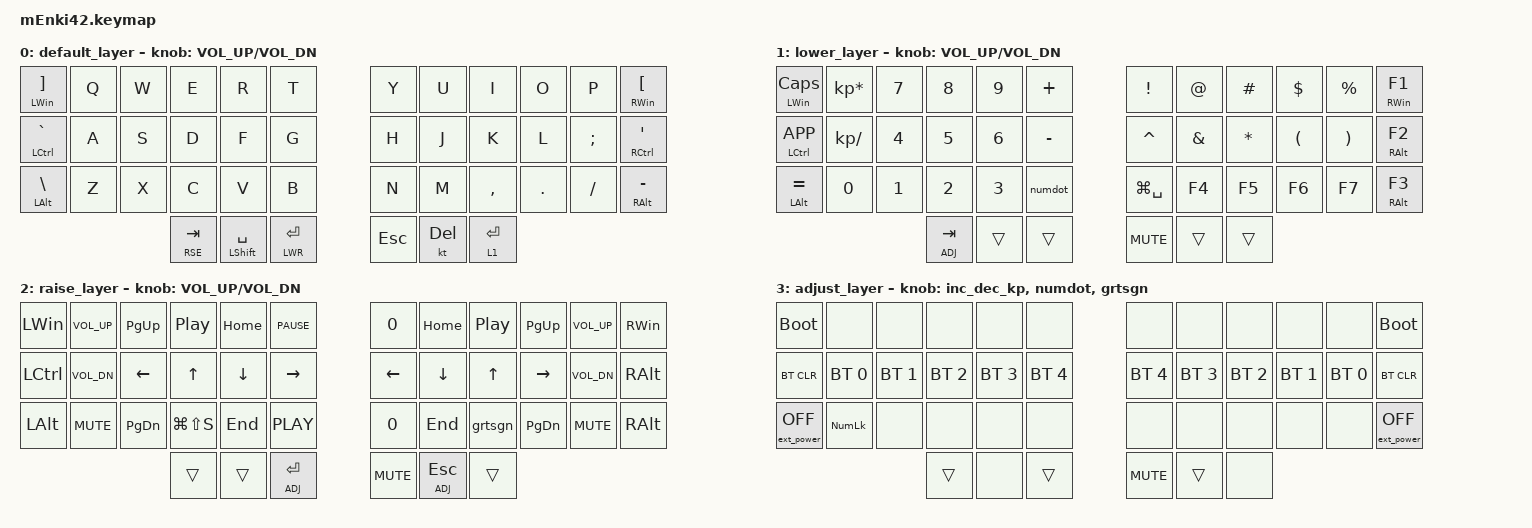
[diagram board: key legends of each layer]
/*
 * Copyright (c) 2020 The ZMK Contributors
 *
 * SPDX-License-Identifier: MIT
 */

#include <behaviors.dtsi>
#include <dt-bindings/zmk/bt.h>
#include <dt-bindings/zmk/ext_power.h>
#include <dt-bindings/zmk/keys.h>
#include <dt-bindings/zmk/keys.h>

#define DEF 0
#define LWR 1
#define RSE 2
#define ADJ 3

&lt { quick_tap_ms = <220>; };

&mt { quick_tap_ms = <220>; };

/ {
    macros {
        numdot: numdot {
            label = "ZM_numdot";
            compatible = "zmk,behavior-macro";
            #binding-cells = <0>;
            wait-ms = <40>;
            tap-ms = <40>;
            bindings =
                <&macro_press>,
                <&kp LALT>,
                <&macro_tap>,
                <&kp KP_N4 &kp KP_N6>,
                <&macro_release>,
                <&kp LALT>;
        };

        grtsgn: grtsgn {
            label = "ZM_grtsgn";
            compatible = "zmk,behavior-macro";
            #binding-cells = <0>;
            wait-ms = <40>;
            tap-ms = <40>;
            bindings =
                <&macro_press>,
                <&kp LALT>,
                <&macro_tap>,
                <&kp KP_N6 &kp KP_N2>,
                <&macro_release>,
                <&kp LALT>;
        };
    };
};

/ {
    keymap {
        compatible = "zmk,keymap";

        default_layer {
            // ------------------------------------------------------------------------------------------------
            //| LGUI/] |  Q  |  W  |  E  |  R  |  T  |   |  Y  |  U   |  I  |  O  |  P  | RGUI/[ | 
            //| CTRL/` |  A  |  S  |  D  |  F  |  G  |   |  H  |  J   |  K  |  L  |  ;  | CTRL/' |
            //| LALT/\ |  Z  |  X  |  C  |  V  |  B  |   |  N  |  M   |  ,  |  .  |  /  | RALT/- |
            //                             | RSE | SPC | LWR |   | LWR | BKSP | RSE |

            bindings = <
&mt LWIN RBKT    &kp Q  &kp W  &kp E        &kp R            &kp T          &kp Y       &kp U       &kp I        &kp O    &kp P     &mt RWIN LBKT
&mt LCTRL GRAVE  &kp A  &kp S  &kp D        &kp F            &kp G          &kp H       &kp J       &kp K        &kp L    &kp SEMI  &mt RCTRL SQT
&mt LALT BSLH    &kp Z  &kp X  &kp C        &kp V            &kp B          &kp N       &kp M       &kp COMMA    &kp DOT  &kp FSLH  &mt RALT MINUS
                               &lt RSE TAB  &mt LSHFT SPACE  &lt LWR RET    &kp ESCAPE  &kt DELETE  &lt 1 ENTER
            >;

            sensor-bindings = <&inc_dec_kp C_VOL_UP C_VOL_DN>;
        };

        lower_layer {
            // -----------------------------------------------------------------------------------------
            //|LGUI/CAPS |  *  |  7 |  8  |  9  |  +  |    |  !  |  @  |  #  |  $  |  %  | RGUI/F1 |
            //|CTRL/MENU |  /  |  4 |  5  |  6  |  -  |    |  ^  |  &  |  *  |  (  |  )  | CTRL/F2 |
            //|  LALT/=  |  0  |  1 |  4  |  3  |  .  |    |  ls |  F4 |  F5 |  F6 |  F7 | RALT/F3 |
            //                      | ADJ | ___ | ___ |    | ___ | ___ | ADJ |

            bindings = <
&mt LWIN CAPS    &kp KP_MULTIPLY  &kp N7  &kp N8       &kp N9  &kp PLUS     &kp EXCL       &kp AT    &kp HASH  &kp DLLR  &kp PRCNT  &mt RWIN F1
&mt LCTRL K_APP  &kp KP_SLASH     &kp N4  &kp N5       &kp N6  &kp MINUS    &kp CARET      &kp AMPS  &kp STAR  &kp LPAR  &kp RPAR   &mt RALT F2
&mt LALT EQUAL   &kp N0           &kp N1  &kp N2       &kp N3  &numdot      &kp LG(SPACE)  &kp F4    &kp F5    &kp F6    &kp F7     &mt RALT F3
                                          &lt ADJ TAB  &trans  &trans       &kp C_MUTE     &trans    &trans
            >;

            sensor-bindings = <&inc_dec_kp C_VOL_UP C_VOL_DN>;
        };

        raise_layer {
            // -----------------------------------------------------------------------------------------
            //| LGUI |  VOLU  |  PGUP  | PLAY | HOME | ___  |            | ___  | HOME | PLAY| PGUP | VOLU | RGUI |
            //| CTRL |  VOLD  |  LEFT  |  UP  | DOWN | RGHT |            | RGHT | DOWN | UP  | LEFT | VOLD | CTRL | 
            //| LALT |  MUTE  |  PGDN  |  ___ | END  | ___  |            | ___  | END  | ___ | PGDN | MUTE | RALT |
            //                          | ___ | ___  | ADJ  |            | ADJ  | ___  | ___ |

            bindings = <
&kp LWIN   &kp C_VOL_UP  &kp PG_UP  &kp C_PP       &kp HOME  &kp C_PAUSE    &kp N0      &kp HOME     &kp C_PP  &kp PG_UP  &kp C_VOL_UP  &kp RWIN
&kp LCTRL  &kp C_VOL_DN  &kp LEFT   &kp UP         &kp DOWN  &kp RIGHT      &kp LEFT    &kp DOWN     &kp UP    &kp RIGHT  &kp C_VOL_DN  &kp RALT
&kp LALT   &kp C_MUTE    &kp PG_DN  &kp LG(LS(S))  &kp END   &kp C_PLAY     &kp N0      &kp END      &grtsgn   &kp PG_DN  &kp C_MUTE    &kp RALT
                                    &trans         &trans    &lt ADJ RET    &kp C_MUTE  &lt ADJ ESC  &trans
            >;

            sensor-bindings = <&inc_dec_kp C_VOL_UP C_VOL_DN>;
        };

        adjust_layer {
            // -----------------------------------------------------------------------------------------
            //| BLDR |     |     |     |     |     |   |     |     |     |     |     | BLDR |
            //| BTCLR| BT0 | BT1 | BT2 | BT3 | BT4 |   | BT4 | BT3 | BT2 | BT1 | BT0 | BTCLR|
            //|pwrOFF|NUMLK|     |     |     |     |   |     |     |     |     |     |      |
            //                   |     |     |     |   |     |     |     |

            bindings = <
&bootloader        &none         &none         &none         &none         &none           &none         &none         &none         &none         &none         &bootloader
&bt BT_CLR         &bt BT_SEL 0  &bt BT_SEL 1  &bt BT_SEL 2  &bt BT_SEL 3  &bt BT_SEL 4    &bt BT_SEL 4  &bt BT_SEL 3  &bt BT_SEL 2  &bt BT_SEL 1  &bt BT_SEL 0  &bt BT_CLR
&ext_power EP_OFF  &kp KP_NUM    &none         &none         &none         &none           &none         &none         &none         &none         &none         &ext_power EP_OFF
                                               &trans        &none         &trans          &kp C_MUTE    &trans        &none
            >;

            sensor-bindings = <&inc_dec_kp &numdot &grtsgn>;
        };
    };
};
